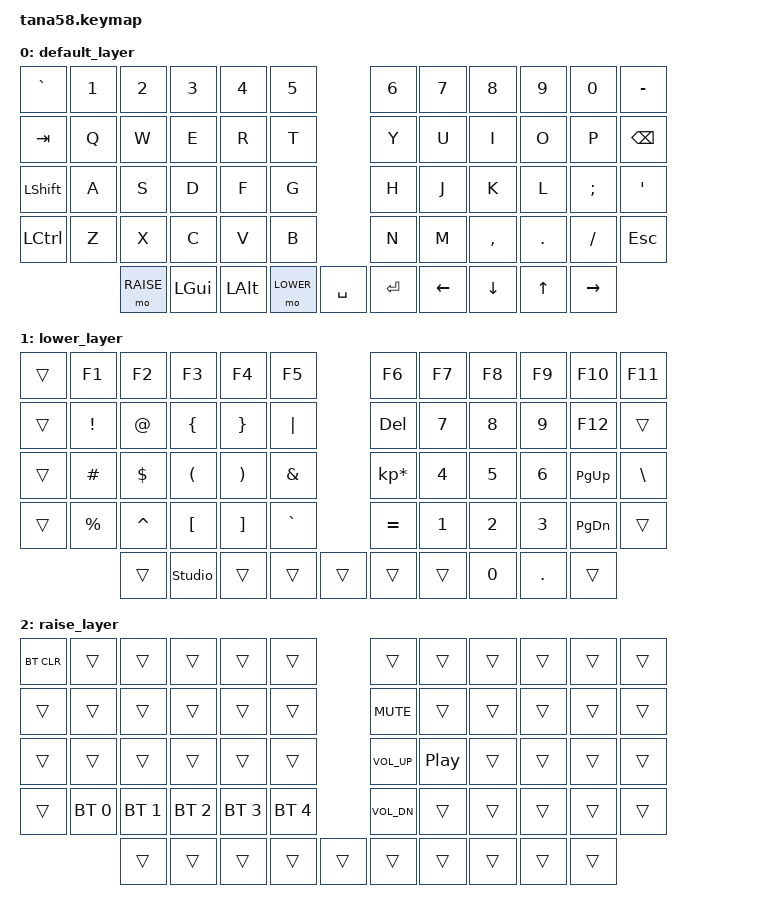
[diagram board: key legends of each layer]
#include <behaviors.dtsi>
#include <dt-bindings/zmk/keys.h>
#include <dt-bindings/zmk/bt.h>

#define DEFAULT 0
#define LOWER   1
#define RAISE   2
#define SYSTEM  3

/ {
    keymap {
        compatible = "zmk,keymap";

        default_layer {
            bindings = <
    &kp GRAVE   &kp N1   &kp N2     &kp N3    &kp N4    &kp N5                                       &kp N6    &kp N7    &kp N8    &kp N9    &kp N0    &kp MINUS
    &kp TAB     &kp Q    &kp W      &kp E     &kp R     &kp T                                        &kp Y     &kp U     &kp I     &kp O     &kp P     &kp BSPC
    &kp LSHIFT  &kp A    &kp S      &kp D     &kp F     &kp G                                        &kp H     &kp J     &kp K     &kp L     &kp SEMI  &kp SQT
    &kp LCTRL   &kp Z    &kp X      &kp C     &kp V     &kp B                                        &kp N     &kp M     &kp COMMA &kp DOT   &kp FSLH  &kp ESC
                             &mo RAISE  &kp LGUI  &kp LALT  &mo LOWER   &kp SPACE      &kp RET       &kp LEFT  &kp DOWN  &kp UP    &kp RIGHT
            >;
        };

        lower_layer {
            bindings = <
    &trans   &kp F1     &kp F2      &kp F3     &kp F4     &kp F5                                     &kp F6           &kp F7   &kp F8   &kp F9   &kp F10    &kp F11
    &trans   &kp EXCL   &kp AT      &kp LBRC   &kp RBRC   &kp PIPE                                   &kp DEL          &kp N7   &kp N8   &kp N9   &kp F12    &trans
    &trans   &kp HASH   &kp DLLR    &kp LPAR   &kp RPAR   &kp AMPS                                   &kp KP_MULTIPLY  &kp N4   &kp N5   &kp N6   &kp PG_UP  &kp BSLH
    &trans   &kp PRCNT  &kp CARET   &kp LBKT   &kp RBKT   &kp GRAVE                                  &kp EQUAL        &kp N1   &kp N2   &kp N3   &kp PG_DN  &trans
                             &trans     &studio_unlock &trans     &trans      &trans        &trans   &trans           &kp N0   &kp DOT  &trans
            >; 
        };

        raise_layer {
            bindings = <
   &bt BT_CLR   &trans        &trans        &trans        &trans        &trans                                       &trans        &trans            &trans  &trans  &trans  &trans
   &trans       &trans        &trans        &trans        &trans        &trans                                       &kp C_MUTE    &trans            &trans  &trans  &trans  &trans
   &trans       &trans        &trans        &trans        &trans        &trans                                       &kp C_VOL_UP  &kp C_PLAY_PAUSE  &trans  &trans  &trans  &trans
   &trans       &bt BT_SEL 0  &bt BT_SEL 1  &bt BT_SEL 2  &bt BT_SEL 3  &bt BT_SEL 4                                 &kp C_VOL_DN  &trans            &trans  &trans  &trans  &trans
                                      &trans        &trans        &trans        &trans       &trans         &trans   &trans        &trans            &trans  &trans
            >;
        };
    };
};
